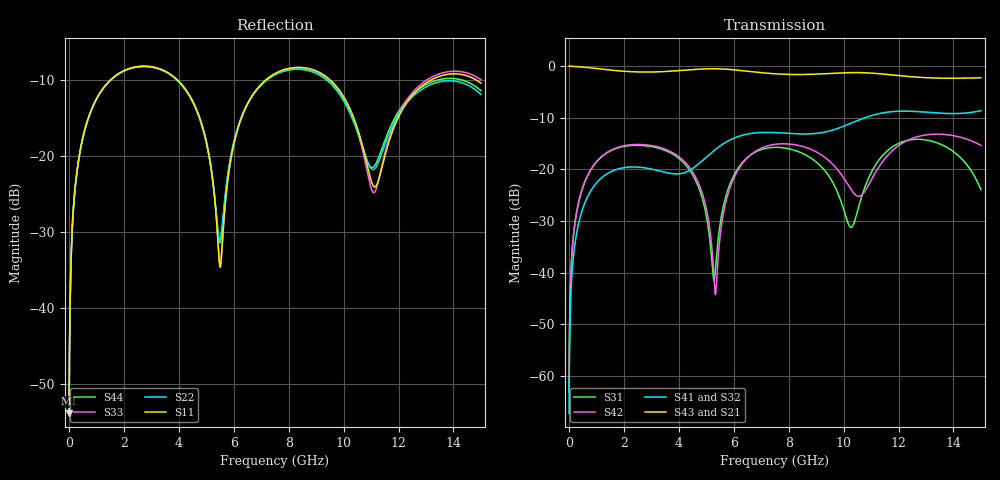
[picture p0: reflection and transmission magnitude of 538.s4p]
! Created with skrf 1.8.0 (http://scikit-rf.org).
# GHz S RI R 50.0
!freq ReS11 ImS11 ReS12 ImS12 ReS13 ImS13
! ReS14 ImS14
! ReS21 ImS21 ReS22 ImS22 ReS23 ImS23
! ReS24 ImS24
! ReS31 ImS31 ReS32 ImS32 ReS33 ImS33
! ReS34 ImS34
! ReS41 ImS41 ReS42 ImS42 ReS43 ImS43
! ReS44 ImS44
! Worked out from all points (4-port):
!   2499 points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, 5 MHz to 15 GHz, reference 50 ohm
!   strongest paths, dB at 5 MHz, 3.476 GHz, 7.19 GHz, 11.1 GHz, 15 GHz:
!     S43: 0.0, -1.1, -1.4, -1.4, -2.3
!     S21: 0.0, -1.1, -1.4, -1.4, -2.2
!     S41: -67.2, -20.5, -12.8, -9.5, -8.6
!     S32: -67.2, -20.6, -12.9, -9.4, -8.7
!     S42: -63.1, -16.0, -15.5, -21.2, -15.3
!     S31: -63.1, -16.3, -15.9, -19.7, -23.9
!   lowest |S11| = -53.8 dB at 5 MHz (marker M1), VSWR 1.00, Z = 50.2 + j0.123 ohm
!   |S11| at or under -10 dB: start of sweep to 1.528 GHz; 3.933 GHz to 7.182 GHz (3.249 GHz wide, 58.5 % of centre); 9.497 GHz to 13.21 GHz (3.714 GHz wide, 32.7 % of centre) (the widest 3 of 4)
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0.005  0.00163 0.00123  0.9983 -0.00317  8.34e-05 0.000697  -8.08e-05 -0.000429
       0.9983 -0.00317  0.00163 0.00123  -8.08e-05 -0.000429  8.35e-05 0.000697
       8.34e-05 0.000697  -8.08e-05 -0.000429  0.00163 0.00123  0.9983 -0.00317
       -8.08e-05 -0.000429  8.35e-05 0.000697  0.9983 -0.00317  0.00163 0.00123
0.3626511  0.0299 0.0921  0.9588 -0.2266  0.0149 0.0472  -0.0125 -0.0284
           0.9588 -0.2266  0.0298 0.0921  -0.0125 -0.0284  0.0154 0.0471
           0.0149 0.0472  -0.0125 -0.0284  0.0299 0.0921  0.9588 -0.2266
           -0.0125 -0.0284  0.0154 0.0471  0.9588 -0.2266  0.0298 0.0921
1.619545  0.2791 0.1702  0.5266 -0.7412  0.1403 0.0679  -0.0975 -0.00165
          0.5266 -0.7412  0.2774 0.1714  -0.0974 -0.00175  0.1449 0.0613
          0.1403 0.0679  -0.0974 -0.00175  0.2792 0.1702  0.5265 -0.7412
          -0.0975 -0.00165  0.1449 0.0613  0.5265 -0.7412  0.2774 0.1715
5.333472  0.0221 -0.0407  -0.9256 -0.1744  0.00874 0.00642  -0.0236 0.1545
          -0.9256 -0.1744  0.0306 -0.0363  -0.0251 0.1542  -0.00606 0.001
          0.00874 0.00642  -0.0251 0.1542  0.0226 -0.0412  -0.9256 -0.1744
          -0.0236 0.1545  -0.00606 0.001  -0.9256 -0.1744  0.0303 -0.037
8.597332  0.3756 -0.0409  0.0141 0.8291  0.1188 -0.0721  0.2114 -0.0624
          0.0141 0.8291  0.3667 -0.0336  0.2112 -0.0585  0.1191 -0.113
          0.1188 -0.0721  0.2112 -0.0585  0.3743 -0.044  0.0147 0.8298
          0.2114 -0.0624  0.1191 -0.113  0.0147 0.8298  0.3646 -0.0306
11.35473  0.0708 0.0335  0.842 -0.00453  0.0365 0.1248  -0.0219 -0.3489
          0.842 -0.00453  0.0919 0.0385  -0.0151 -0.3497  0.0262 0.1094
          0.0365 0.1248  -0.0151 -0.3497  0.0678 0.0421  0.8414 -0.00839
          -0.0219 -0.3489  0.0262 0.1094  0.8414 -0.00839  0.0961 0.0451
15  0.2731 -0.1229  -0.2921 -0.719  0.00913 -0.0632  -0.3322 0.1631
    -0.2921 -0.719  0.2408 -0.0778  -0.3354 0.1536  -0.0224 -0.1698
    0.00913 -0.0632  -0.3354 0.1536  0.2887 -0.1268  -0.2893 -0.7148
    -0.3322 0.1631  -0.0224 -0.1698  -0.2893 -0.7148  0.2545 -0.084
